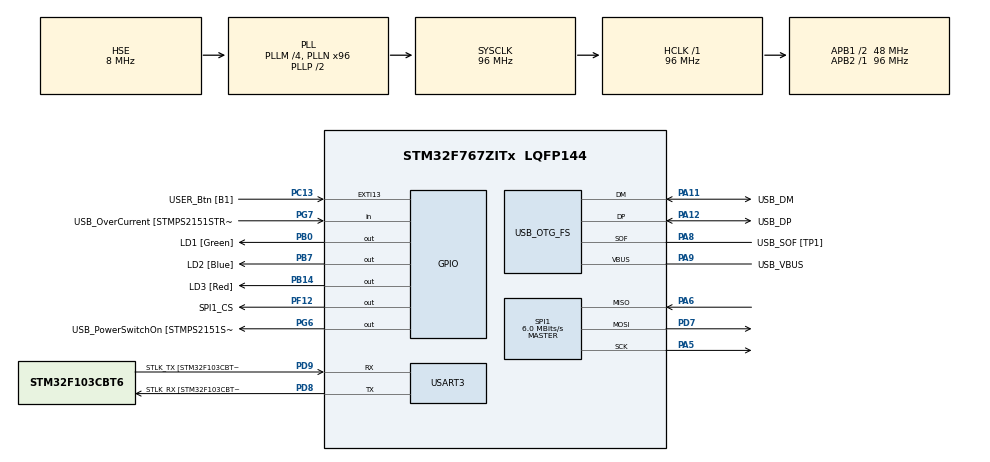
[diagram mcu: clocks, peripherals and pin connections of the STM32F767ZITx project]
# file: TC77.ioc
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Mcu.Family=STM32F7
Mcu.Name=STM32F767ZITx
Mcu.Package=LQFP144
NVIC.PriorityGroup=NVIC_PRIORITYGROUP_4
PA1.GPIO_Label=RMII_REF_CLK [LAN8742A-CZ-TR_REFCLK0]
PA1.Signal=ETH_REF_CLK
PA10.GPIO_Label=USB_ID
PA10.Signal=USB_OTG_FS_ID
PA11.GPIO_Label=USB_DM
PA11.Mode=Device_Only
PA11.Signal=USB_OTG_FS_DM
PA12.GPIO_Label=USB_DP
PA12.Mode=Device_Only
PA12.Signal=USB_OTG_FS_DP
PA13.GPIO_Label=TMS
PA13.Mode=Serial_Wire
PA13.Signal=SYS_JTMS-SWDIO
PA14.GPIO_Label=TCK
PA14.Mode=Serial_Wire
PA14.Signal=SYS_JTCK-SWCLK
PA2.GPIO_Label=RMII_MDIO [LAN8742A-CZ-TR_MDIO]
PA2.Signal=ETH_MDIO
PA5.Mode=Full_Duplex_Master
PA5.Signal=SPI1_SCK
PA6.Mode=Full_Duplex_Master
PA6.Signal=SPI1_MISO
PA7.GPIO_Label=RMII_CRS_DV [LAN8742A-CZ-TR_CRS_DV]
PA7.Signal=ETH_CRS_DV
PA8.GPIO_Label=USB_SOF [TP1]
PA8.Mode=Activate_SOF_FS
PA8.Signal=USB_OTG_FS_SOF
PA9.GPIO_Label=USB_VBUS
PA9.Mode=Activate_VBUS
PA9.Signal=USB_OTG_FS_VBUS
PB0.GPIO_Label=LD1 [Green]
PB0.Signal=GPIO_Output
PB13.GPIO_Label=RMII_TXD1 [LAN8742A-CZ-TR_TXD1]
PB13.Signal=ETH_TXD1
PB14.GPIO_Label=LD3 [Red]
PB14.Signal=GPIO_Output
PB3.GPIO_Label=SWO
PB3.Signal=SYS_JTDO-SWO
PB7.GPIO_Label=LD2 [Blue]
PB7.Signal=GPIO_Output
PC1.GPIO_Label=RMII_MDC [LAN8742A-CZ-TR_MDC]
PC1.Signal=ETH_MDC
PC13.GPIO_Label=USER_Btn [B1]
PC13.Signal=GPXTI13
PC14/OSC32_IN.Mode=LSE-External-Oscillator
PC14/OSC32_IN.Signal=RCC_OSC32_IN
PC15/OSC32_OUT.Mode=LSE-External-Oscillator
PC15/OSC32_OUT.Signal=RCC_OSC32_OUT
PC4.GPIO_Label=RMII_RXD0 [LAN8742A-CZ-TR_RXD0]
PC4.Signal=ETH_RXD0
PC5.GPIO_Label=RMII_RXD1 [LAN8742A-CZ-TR_RXD1]
PC5.Signal=ETH_RXD1
PD7.Mode=Full_Duplex_Master
PD7.Signal=SPI1_MOSI
PD8.GPIO_Label=STLK_RX [STM32F103CBT6_PA3]
PD8.Mode=Asynchronous
PD8.Signal=USART3_TX
PD9.GPIO_Label=STLK_TX [STM32F103CBT6_PA2]
PD9.Mode=Asynchronous
PD9.Signal=USART3_RX
PF12.GPIO_Label=SPI1_CS
PF12.Signal=GPIO_Output
PG11.GPIO_Label=RMII_TX_EN [LAN8742A-CZ-TR_TXEN]
PG11.Signal=ETH_TX_EN
PG13.GPIO_Label=RMII_TXD0 [LAN8742A-CZ-TR_TXD0]
PG13.Signal=ETH_TXD0
PG6.GPIO_Label=USB_PowerSwitchOn [STMPS2151STR_EN]
PG6.Signal=GPIO_Output
PG7.GPIO_Label=USB_OverCurrent [STMPS2151STR_FAULT]
PG7.Signal=GPIO_Input
PH0/OSC_IN.GPIO_Label=MCO [STM32F103CBT6_PA8]
PH0/OSC_IN.Mode=HSE-External-Clock-Source
PH0/OSC_IN.Signal=RCC_OSC_IN
PH1/OSC_OUT.Mode=HSE-External-Clock-Source
PH1/OSC_OUT.Signal=RCC_OSC_OUT
ProjectManager.HeapSize=0x200
ProjectManager.StackSize=0x400
ProjectManager.TargetToolchain=STM32CubeIDE
RCC.48MHZClocksFreq_Value=24000000
RCC.AHBFreq_Value=96000000
RCC.APB1CLKDivider=RCC_HCLK_DIV2
RCC.APB1Freq_Value=48000000
RCC.APB1TimFreq_Value=96000000
RCC.APB2Freq_Value=96000000
RCC.APB2TimFreq_Value=96000000
RCC.CortexFreq_Value=96000000
RCC.HCLKFreq_Value=96000000
RCC.HSE_VALUE=8000000
RCC.HSI_VALUE=16000000
RCC.PLLM=4
RCC.PLLMUL=RCC_PLL_MUL9
RCC.PLLN=96
RCC.PLLQ=4
RCC.PRESCALERUSB=RCC_USBCLKSOURCE_PLL_DIV1_5
RCC.SYSCLKFreq_VALUE=96000000
RCC.SYSCLKSource=RCC_SYSCLKSOURCE_PLLCLK
RCC.SYSCLKSourceVirtual=RCC_SYSCLKSOURCE_PLLCLK
RCC.USBFreq_Value=48000000
RCC.VCOOutputFreq_Value=192000000
SPI1.BaudRatePrescaler=SPI_BAUDRATEPRESCALER_16
SPI1.CalculateBaudRate=6.0 MBits/s
SPI1.DataSize=SPI_DATASIZE_8BIT
SPI1.Direction=SPI_DIRECTION_2LINES
SPI1.Mode=SPI_MODE_MASTER
SPI1.VirtualType=VM_MASTER
USART3.VirtualMode-Asynchronous=VM_ASYNC
USB_OTG_FS.VirtualMode=Device_Only
board=NUCLEO-F767ZI

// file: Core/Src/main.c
/* USER CODE BEGIN Header */
/**
  ******************************************************************************
  Code created to read temperature from TC77.
  Platform used: STM32 NUCLEO-F767ZI
  Author: Jakub Grzesiak
  ******************************************************************************
  */
/* USER CODE END Header */
#include "main.h"

/* USER CODE BEGIN Includes */
#include <string.h>
#include <stdio.h>

/* USER CODE END Includes */

SPI_HandleTypeDef hspi1;

UART_HandleTypeDef huart3;

PCD_HandleTypeDef hpcd_USB_OTG_FS;

/* USER CODE BEGIN PV */

// 2 byte buffer to store data received from TC77
uint8_t spibuf[2];

// Raw 2-byte reading from sensor
uint16_t raw_reading;

// 2-byte reading from sensor without 3 last, not used bits:
//Bits 0 and 1 are undefined and will be tri-state outputs during a read
//sequence. Bit 2 is set to a logic ‘1’ after completion of
//the first temperature conversion following a power-up or reset event.
uint16_t temp_reading;

uint16_t msb; // 1000 0000 0000 0000

// Real converted temperature value
float temp;

// UART transmit buffer
uint8_t txbuf[64];

// char array of binary values read from TC77
char binary_reading[16];

/* USER CODE END PV */

void SystemClock_Config(void);
static void MX_GPIO_Init(void);
static void MX_USART3_UART_Init(void);
static void MX_USB_OTG_FS_PCD_Init(void);
static void MX_SPI1_Init(void);

int main(void)
{

  /* MCU Configuration--------------------------------------------------------*/

  /* Reset of all peripherals, Initializes the Flash interface and the Systick. */
  HAL_Init();

  /* Configure the system clock */
  SystemClock_Config();

  /* Initialize all configured peripherals */
  MX_GPIO_Init();
  MX_USART3_UART_Init();
  MX_USB_OTG_FS_PCD_Init();
  MX_SPI1_Init();

  /* Infinite loop */
  /* USER CODE BEGIN WHILE */
  while (1)
  {
	  // SPI
	  HAL_GPIO_WritePin(GPIOF, GPIO_PIN_12, GPIO_PIN_RESET); // !CS line low
	  HAL_SPI_Receive(&hspi1, spibuf, 2, 100);
	  HAL_GPIO_WritePin(GPIOF, GPIO_PIN_12, GPIO_PIN_SET); // !CS line high

	  // 2 bytes (uint8_t) moved to one word (uint16_t)
	  raw_reading = (spibuf[0] << 8) + spibuf[1];

	  // Binary values put into char array
	  for(int i=0; i<15; i++){
		  if((raw_reading & (1 << i)) != 0){
			  binary_reading[i] = 1;
		  }
		  else{
			  binary_reading[i] = 0;
		  }
	  }

	  // Remove last 3 unused bits
	  temp_reading = raw_reading >> 3;

	  msb = 1 << 15; // 1000 0000 0000 0000

	  // Check first sign bit (MSB) and execute proper conversion
	  if(raw_reading & msb){ // If MSB == 1 -> negative temperature
		  temp = (temp_reading - 8192) * 0.0625;
	  }
	  else{ // If MSB == 0 -> positive temperature
		  temp = temp_reading * 0.0625;
	  }

	  // Fill txbuf with text and temperature and send over UART
	  sprintf((char*)txbuf, "Current temperature from TC77: %f\r\n", temp);
	  HAL_UART_Transmit(&huart3, txbuf, strlen((char*)txbuf), HAL_MAX_DELAY);

	  // Signalling diode LD2 (Blue)
	  HAL_GPIO_TogglePin(LD2_GPIO_Port, LD2_Pin);

	  // Delay preventing errors
	  HAL_Delay(500);

    /* USER CODE END WHILE */

  }
}

void SystemClock_Config(void)
{
  RCC_OscInitTypeDef RCC_OscInitStruct = {0};
  RCC_ClkInitTypeDef RCC_ClkInitStruct = {0};

  /** Configure LSE Drive Capability
  */
  HAL_PWR_EnableBkUpAccess();

  /** Configure the main internal regulator output voltage
  */
  __HAL_RCC_PWR_CLK_ENABLE();
  __HAL_PWR_VOLTAGESCALING_CONFIG(PWR_REGULATOR_VOLTAGE_SCALE3);

  /** Initializes the RCC Oscillators according to the specified parameters
  * in the RCC_OscInitTypeDef structure.
  */
  RCC_OscInitStruct.OscillatorType = RCC_OSCILLATORTYPE_HSE;
  RCC_OscInitStruct.HSEState = RCC_HSE_BYPASS;
  RCC_OscInitStruct.PLL.PLLState = RCC_PLL_ON;
  RCC_OscInitStruct.PLL.PLLSource = RCC_PLLSOURCE_HSE;
  RCC_OscInitStruct.PLL.PLLM = 4;
  RCC_OscInitStruct.PLL.PLLN = 96;
  RCC_OscInitStruct.PLL.PLLP = RCC_PLLP_DIV2;
  RCC_OscInitStruct.PLL.PLLQ = 4;
  RCC_OscInitStruct.PLL.PLLR = 2;
  if (HAL_RCC_OscConfig(&RCC_OscInitStruct) != HAL_OK)
  {
    Error_Handler();
  }

  /** Activate the Over-Drive mode
  */
  if (HAL_PWREx_EnableOverDrive() != HAL_OK)
  {
    Error_Handler();
  }

  /** Initializes the CPU, AHB and APB buses clocks
  */
  RCC_ClkInitStruct.ClockType = RCC_CLOCKTYPE_HCLK|RCC_CLOCKTYPE_SYSCLK
                              |RCC_CLOCKTYPE_PCLK1|RCC_CLOCKTYPE_PCLK2;
  RCC_ClkInitStruct.SYSCLKSource = RCC_SYSCLKSOURCE_PLLCLK;
  RCC_ClkInitStruct.AHBCLKDivider = RCC_SYSCLK_DIV1;
  RCC_ClkInitStruct.APB1CLKDivider = RCC_HCLK_DIV2;
  RCC_ClkInitStruct.APB2CLKDivider = RCC_HCLK_DIV1;

  if (HAL_RCC_ClockConfig(&RCC_ClkInitStruct, FLASH_LATENCY_3) != HAL_OK)
  {
    Error_Handler();
  }
}

static void MX_SPI1_Init(void)
{

  /* SPI1 parameter configuration*/
  hspi1.Instance = SPI1;
  hspi1.Init.Mode = SPI_MODE_MASTER;
  hspi1.Init.Direction = SPI_DIRECTION_2LINES;
  hspi1.Init.DataSize = SPI_DATASIZE_8BIT;
  hspi1.Init.CLKPolarity = SPI_POLARITY_LOW;
  hspi1.Init.CLKPhase = SPI_PHASE_1EDGE;
  hspi1.Init.NSS = SPI_NSS_SOFT;
  hspi1.Init.BaudRatePrescaler = SPI_BAUDRATEPRESCALER_16;
  hspi1.Init.FirstBit = SPI_FIRSTBIT_MSB;
  hspi1.Init.TIMode = SPI_TIMODE_DISABLE;
  hspi1.Init.CRCCalculation = SPI_CRCCALCULATION_DISABLE;
  hspi1.Init.CRCPolynomial = 7;
  hspi1.Init.CRCLength = SPI_CRC_LENGTH_DATASIZE;
  hspi1.Init.NSSPMode = SPI_NSS_PULSE_ENABLE;
  if (HAL_SPI_Init(&hspi1) != HAL_OK)
  {
    Error_Handler();
  }

}

static void MX_USART3_UART_Init(void)
{

  huart3.Instance = USART3;
  huart3.Init.BaudRate = 115200;
  huart3.Init.WordLength = UART_WORDLENGTH_8B;
  huart3.Init.StopBits = UART_STOPBITS_1;
  huart3.Init.Parity = UART_PARITY_NONE;
  huart3.Init.Mode = UART_MODE_TX_RX;
  huart3.Init.HwFlowCtl = UART_HWCONTROL_NONE;
  huart3.Init.OverSampling = UART_OVERSAMPLING_16;
  huart3.Init.OneBitSampling = UART_ONE_BIT_SAMPLE_DISABLE;
  huart3.AdvancedInit.AdvFeatureInit = UART_ADVFEATURE_NO_INIT;
  if (HAL_UART_Init(&huart3) != HAL_OK)
  {
    Error_Handler();
  }

}

static void MX_USB_OTG_FS_PCD_Init(void)
{

  hpcd_USB_OTG_FS.Instance = USB_OTG_FS;
  hpcd_USB_OTG_FS.Init.dev_endpoints = 6;
  hpcd_USB_OTG_FS.Init.speed = PCD_SPEED_FULL;
  hpcd_USB_OTG_FS.Init.dma_enable = DISABLE;
  hpcd_USB_OTG_FS.Init.phy_itface = PCD_PHY_EMBEDDED;
  hpcd_USB_OTG_FS.Init.Sof_enable = ENABLE;
  hpcd_USB_OTG_FS.Init.low_power_enable = DISABLE;
  hpcd_USB_OTG_FS.Init.lpm_enable = DISABLE;
  hpcd_USB_OTG_FS.Init.vbus_sensing_enable = ENABLE;
  hpcd_USB_OTG_FS.Init.use_dedicated_ep1 = DISABLE;
  if (HAL_PCD_Init(&hpcd_USB_OTG_FS) != HAL_OK)
  {
    Error_Handler();
  }

}

static void MX_GPIO_Init(void)
{
  GPIO_InitTypeDef GPIO_InitStruct = {0};

  /* GPIO Ports Clock Enable */
  __HAL_RCC_GPIOC_CLK_ENABLE();
  __HAL_RCC_GPIOH_CLK_ENABLE();
  __HAL_RCC_GPIOA_CLK_ENABLE();
  __HAL_RCC_GPIOB_CLK_ENABLE();
  __HAL_RCC_GPIOF_CLK_ENABLE();
  __HAL_RCC_GPIOD_CLK_ENABLE();
  __HAL_RCC_GPIOG_CLK_ENABLE();

  /*Configure GPIO pin Output Level */
  HAL_GPIO_WritePin(GPIOB, LD1_Pin|LD3_Pin|LD2_Pin, GPIO_PIN_RESET);

  /*Configure GPIO pin Output Level */
  HAL_GPIO_WritePin(SPI1_CS_GPIO_Port, SPI1_CS_Pin, GPIO_PIN_RESET);

  /*Configure GPIO pin Output Level */
  HAL_GPIO_WritePin(USB_PowerSwitchOn_GPIO_Port, USB_PowerSwitchOn_Pin, GPIO_PIN_RESET);

  /*Configure GPIO pin : USER_Btn_Pin */
  GPIO_InitStruct.Pin = USER_Btn_Pin;
  GPIO_InitStruct.Mode = GPIO_MODE_IT_RISING;
  GPIO_InitStruct.Pull = GPIO_NOPULL;
  HAL_GPIO_Init(USER_Btn_GPIO_Port, &GPIO_InitStruct);

  /*Configure GPIO pins : RMII_MDC_Pin RMII_RXD0_Pin RMII_RXD1_Pin */
  GPIO_InitStruct.Pin = RMII_MDC_Pin|RMII_RXD0_Pin|RMII_RXD1_Pin;
  GPIO_InitStruct.Mode = GPIO_MODE_AF_PP;
  GPIO_InitStruct.Pull = GPIO_NOPULL;
  GPIO_InitStruct.Speed = GPIO_SPEED_FREQ_VERY_HIGH;
  GPIO_InitStruct.Alternate = GPIO_AF11_ETH;
  HAL_GPIO_Init(GPIOC, &GPIO_InitStruct);

  /*Configure GPIO pins : RMII_REF_CLK_Pin RMII_MDIO_Pin RMII_CRS_DV_Pin */
  GPIO_InitStruct.Pin = RMII_REF_CLK_Pin|RMII_MDIO_Pin|RMII_CRS_DV_Pin;
  GPIO_InitStruct.Mode = GPIO_MODE_AF_PP;
  GPIO_InitStruct.Pull = GPIO_NOPULL;
  GPIO_InitStruct.Speed = GPIO_SPEED_FREQ_VERY_HIGH;
  GPIO_InitStruct.Alternate = GPIO_AF11_ETH;
  HAL_GPIO_Init(GPIOA, &GPIO_InitStruct);

  /*Configure GPIO pins : LD1_Pin LD3_Pin LD2_Pin */
  GPIO_InitStruct.Pin = LD1_Pin|LD3_Pin|LD2_Pin;
  GPIO_InitStruct.Mode = GPIO_MODE_OUTPUT_PP;
  GPIO_InitStruct.Pull = GPIO_NOPULL;
  GPIO_InitStruct.Speed = GPIO_SPEED_FREQ_LOW;
  HAL_GPIO_Init(GPIOB, &GPIO_InitStruct);

  /*Configure GPIO pin : SPI1_CS_Pin */
  GPIO_InitStruct.Pin = SPI1_CS_Pin;
  GPIO_InitStruct.Mode = GPIO_MODE_OUTPUT_PP;
  GPIO_InitStruct.Pull = GPIO_NOPULL;
  GPIO_InitStruct.Speed = GPIO_SPEED_FREQ_LOW;
  HAL_GPIO_Init(SPI1_CS_GPIO_Port, &GPIO_InitStruct);

  /*Configure GPIO pin : RMII_TXD1_Pin */
  GPIO_InitStruct.Pin = RMII_TXD1_Pin;
  GPIO_InitStruct.Mode = GPIO_MODE_AF_PP;
  GPIO_InitStruct.Pull = GPIO_NOPULL;
  GPIO_InitStruct.Speed = GPIO_SPEED_FREQ_VERY_HIGH;
  GPIO_InitStruct.Alternate = GPIO_AF11_ETH;
  HAL_GPIO_Init(RMII_TXD1_GPIO_Port, &GPIO_InitStruct);

  /*Configure GPIO pin : USB_PowerSwitchOn_Pin */
  GPIO_InitStruct.Pin = USB_PowerSwitchOn_Pin;
  GPIO_InitStruct.Mode = GPIO_MODE_OUTPUT_PP;
  GPIO_InitStruct.Pull = GPIO_NOPULL;
  GPIO_InitStruct.Speed = GPIO_SPEED_FREQ_LOW;
  HAL_GPIO_Init(USB_PowerSwitchOn_GPIO_Port, &GPIO_InitStruct);

  /*Configure GPIO pin : USB_OverCurrent_Pin */
  GPIO_InitStruct.Pin = USB_OverCurrent_Pin;
  GPIO_InitStruct.Mode = GPIO_MODE_INPUT;
  GPIO_InitStruct.Pull = GPIO_NOPULL;
  HAL_GPIO_Init(USB_OverCurrent_GPIO_Port, &GPIO_InitStruct);

  /*Configure GPIO pins : RMII_TX_EN_Pin RMII_TXD0_Pin */
  GPIO_InitStruct.Pin = RMII_TX_EN_Pin|RMII_TXD0_Pin;
  GPIO_InitStruct.Mode = GPIO_MODE_AF_PP;
  GPIO_InitStruct.Pull = GPIO_NOPULL;
  GPIO_InitStruct.Speed = GPIO_SPEED_FREQ_VERY_HIGH;
  GPIO_InitStruct.Alternate = GPIO_AF11_ETH;
  HAL_GPIO_Init(GPIOG, &GPIO_InitStruct);

}

void Error_Handler(void)
{
  __disable_irq();
  while (1)
  {
  }
}
